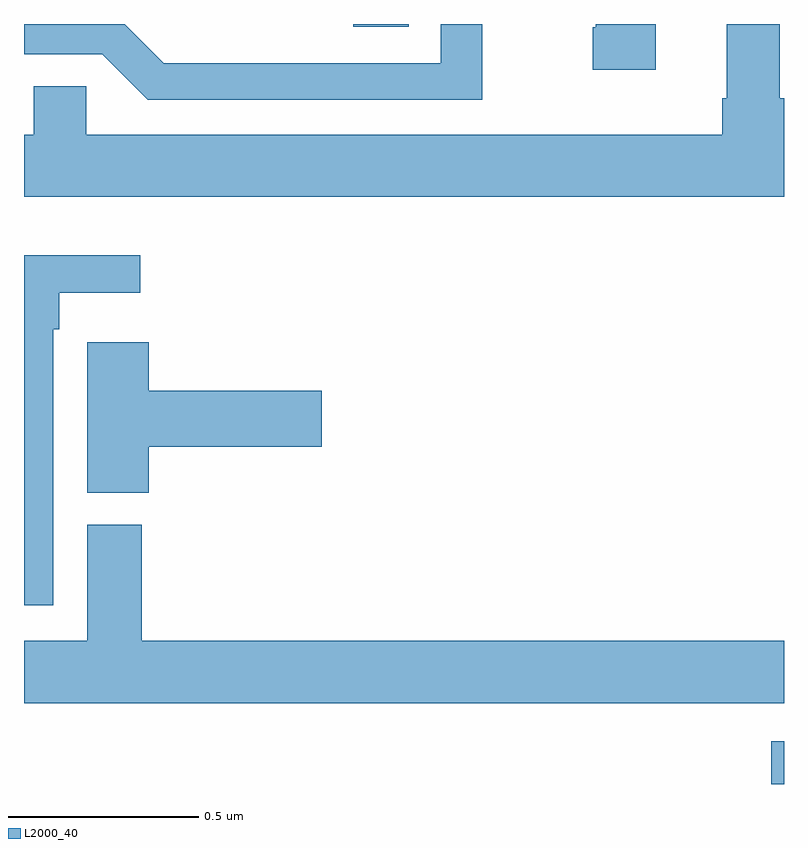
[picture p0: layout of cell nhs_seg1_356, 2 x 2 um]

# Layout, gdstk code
import gdstk
lib = gdstk.Library(unit=1e-6, precision=1e-09)
def R(c, l, rs):  # rectangles x0, y0, x1, y1
    for r in rs: c.add(gdstk.rectangle(r[:2], r[2:], *l))
def P(c, l, *ps):  # polygons
    for p in ps: c.add(gdstk.Polygon(p, *l))
L2000_40 = (2000, 40)

nhs_seg1_356 = lib.new_cell('nhs_seg1_356')
R(nhs_seg1_356, L2000_40, [(116.966,538.199,117,538.312), (115.866,540.192,116.012,540.199)])
P(nhs_seg1_356, L2000_40, [(117,540.004),(116.989,540.004),(116.989,540.199),(116.849,540.199),(116.849,540.004),(116.837,540.004),(116.837,539.908),(115.164,539.908),(115.164,540.035),(115.025,540.035),(115.025,539.908),(115,539.908),(115,539.744),(117,539.744)],
  [(116.662,540.199),(116.504,540.199),(116.504,540.19),(116.497,540.19),(116.497,540.078),(116.662,540.078)],
  [(116.206,540.199),(116.097,540.199),(116.097,540.096),(115.368,540.096),(115.265,540.199),(115,540.199),(115,540.12),(115.206,540.12),(115.326,540),(116.206,540)],
  [(115.077,539.396),(115.093,539.396),(115.093,539.492),(115.306,539.492),(115.306,539.59),(115,539.59),(115,538.67),(115.077,538.67)],
  [(115.328,539.087),(115.783,539.087),(115.783,539.234),(115.328,539.234),(115.328,539.362),(115.167,539.362),(115.167,539.249),(115.166,539.249),(115.166,538.966),(115.328,538.966)],
  [(117,538.576),(115.31,538.576),(115.31,538.881),(115.166,538.881),(115.166,538.576),(115,538.576),(115,538.412),(117,538.412)])

lib.write_gds('nhs_seg1_356.gds')
